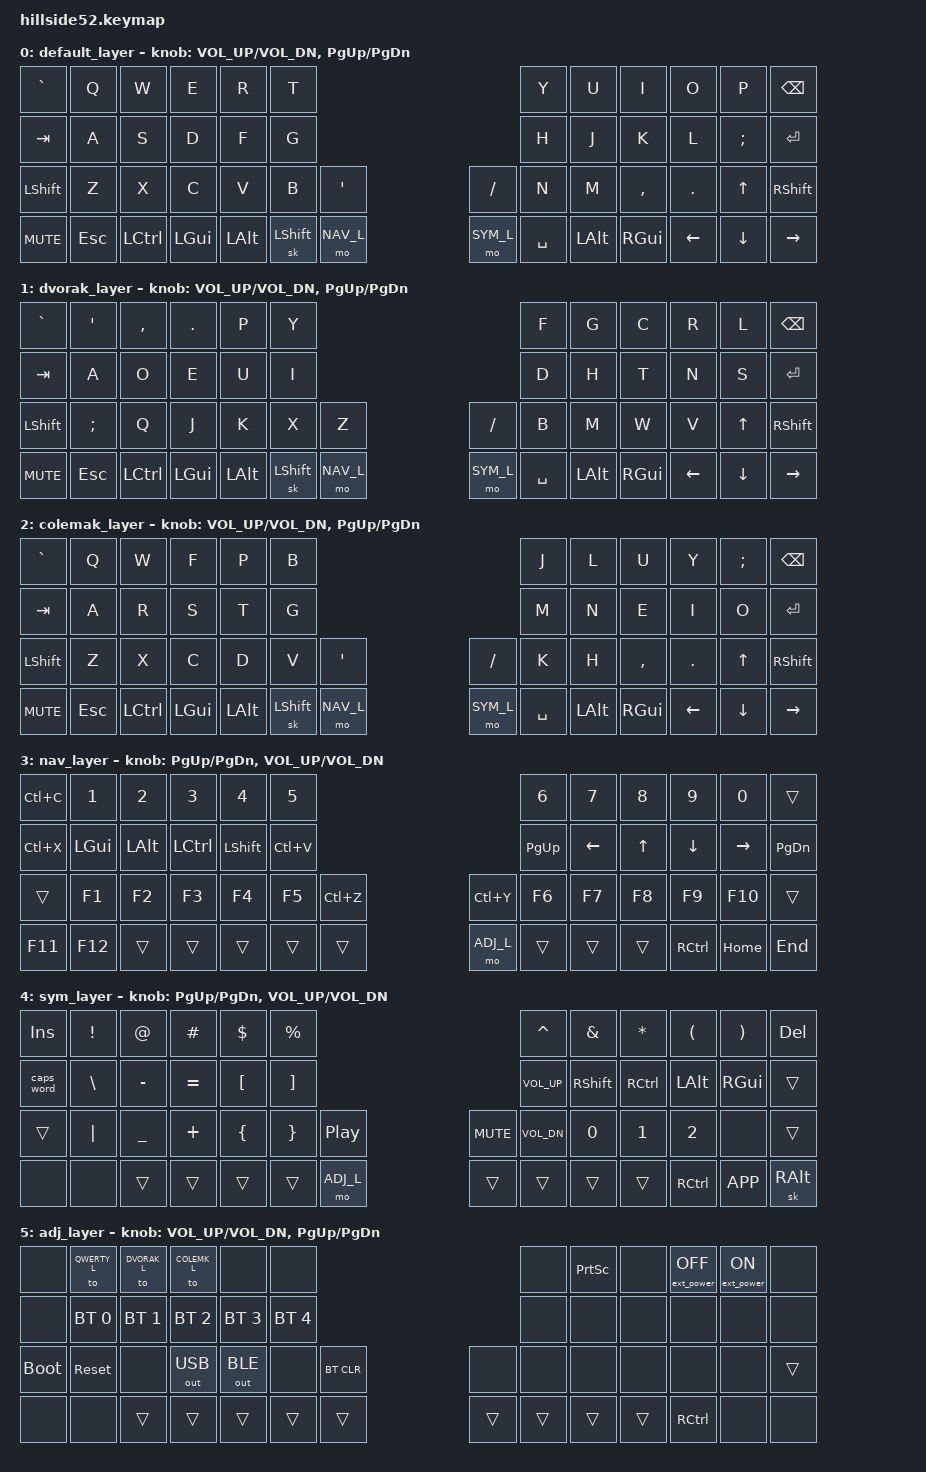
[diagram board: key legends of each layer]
/*
 * Copyright (c) 2021-2022 The ZMK Contributors
 *
 * SPDX-License-Identifier: MIT
 */

#include <behaviors.dtsi>
#include <dt-bindings/zmk/bt.h>
#include <dt-bindings/zmk/ext_power.h>
#include <dt-bindings/zmk/keys.h>
#include <dt-bindings/zmk/outputs.h>

#define QWERTY_L 0
#define DVORAK_L 1
#define COLEMK_L 2
#define NAV_L    3
#define SYM_L    4
#define ADJ_L    5

#define Undo   LC(Z)
#define Cut    LC(X)
#define Copy   LC(C)
#define Paste  LC(V)
#define Redo   LC(Y)

#define ES_MORD GRAVE   // º
#define ES_QUOT MINUS   // '
#define ES_IEXL EQUAL   // ¡

#define ES_GRV  LBKT    // ` (dead)
#define ES_PLUS RBKT    // +

#define ES_NTIL SEMI    // Ñ
#define ES_ACUT SQT     // ´ (dead)
#define ES_CCED NUHS    // Ç

#define ES_LABK NUBS    // <
#define ES_COMM COMMA   // ,
#define ES_DOT  DOT     // .
#define ES_MINS SLASH   // -

#define ES_FORD LS(ES_MORD) // ª
#define ES_EXLM LS(N1)    // !
#define ES_DQUO LS(N2)    // "
#define ES_BULT LS(N3)    // ·
#define ES_DLR  LS(N4)    // $
#define ES_PERC LS(N5)    // %
#define ES_AMPR LS(N6)    // &
#define ES_SLSH LS(N7)    // /
#define ES_LPRN LS(N8)    // (
#define ES_RPRN LS(N9)    // )
#define ES_EQL  LS(N0)    // =
#define ES_QUES LS(ES_QUOT) // ?
#define ES_IQUE LS(ES_IEXL) // ¿
#define ES_CIRC LS(ES_GRV)  // ^ (dead)
#define ES_ASTR LS(ES_PLUS) // *
#define ES_DIAE LS(ES_ACUT) // ¨ (dead)
#define ES_RABK LS(ES_LABK) // >
#define ES_SCLN LS(KC_COMM) // ;
#define ES_COLN LS(KC_DOT)  // :
#define ES_UNDS LS(ES_MINS) // _
#define ES_BSLS LA(ES_MORD) // (backslash)
#define ES_PIPE LA(N1)    // |
#define ES_AT   LA(N2)    // @
#define ES_HASH LA(N3)    // #
#define ES_TILD LA(ES_NTIL) // ~
#define ES_EURO LA(N5)    // €
#define ES_NOT  LA(N6)    // ¬
#define ES_LBRC LA(ES_GRV)  // [
#define ES_RBRC LA(ES_PLUS) // ]
#define ES_LCBR LA(ES_ACUT) // {
#define ES_RCBR LA(ES_CCED) // }

/ {
        keymap {
                compatible = "zmk,keymap";

                default_layer {
/* QWERTY
 * -------------------------------------------------------------------------------------------------------------------------------------
 * | `     |   Q   |   W   |   E   |   R   |   T   |-----------------------------------|   Y   |   U   |   I   |   O   |   P   | BKSPC |
 * | TAB   |   A   |   S   |   D   |   F   |   G   |-----------------------------------|   H   |   J   |   K   |   L   |   ;   | ENTER |
 * | SHIFT |   Z   |   X   |   C   |   V   |   B   |   '   |-------------------|   /   |   N   |   M   |   ,   |   .   |  Up   | SHIFT |
 * | Mute  |  ESC  | CTRL  |-------|  GUI  |  ALT  |SK SHFT|  Nav  |---|  Sym  | SPACE |  ALT  |  GUI  |-------| Left  | Down  | Right |
 */
                        bindings = <
&kp  GRAVE    &kp  Q        &kp  W        &kp  E        &kp  R        &kp  T                                                                         &kp  Y        &kp  U        &kp  I        &kp  O        &kp  P        &kp  BSPC
&kp  TAB      &kp  A        &kp  S        &kp  D        &kp  F        &kp  G                                                                         &kp  H        &kp  J        &kp  K        &kp  L        &kp  SEMI     &kp  ENTER
&kp  LSHFT    &kp  Z        &kp  X        &kp  C        &kp  V        &kp  B        &kp  SQT                                           &kp  SLASH    &kp  N        &kp  M        &kp  COMMA    &kp  DOT      &kp  UP       &kp  RSHFT
&kp  C_MUTE   &kp  ESC      &kp  LCTRL                  &kp  LGUI     &kp  LALT     &sk  LSHIFT    &mo  NAV_L            &mo  SYM_L    &kp  SPACE    &kp  LALT     &kp  RGUI                   &kp  LEFT     &kp  DOWN     &kp  RIGHT
                        >;
			
                        sensor-bindings = <&inc_dec_kp C_VOL_UP C_VOL_DN &inc_dec_kp PG_UP PG_DN>;
                };
		
                dvorak_layer {
/* DVORAK
 * -------------------------------------------------------------------------------------------------------------------------------------
 * | `     |   '   |   ,   |   .   |   P   |   Y   |-----------------------------------|   F   |   G   |   C   |   R   |   L   | BKSPC |
 * | TAB   |   A   |   O   |   E   |   U   |   I   |-----------------------------------|   D   |   H   |   T   |   N   |   S   | ENTER |
 * | SHIFT |   ;   |   Q   |   J   |   K   |   X   |   Z   |-------------------|   /   |   B   |   M   |   W   |   V   |  Up   | SHIFT |
 * | Mute  |  ESC  | CTRL  |-------|  GUI  |  ALT  |SK SHFT|  Nav  |---|  Sym  | SPACE |  ALT  |  GUI  |-------| Left  | Down  | Right |
 */
                        bindings = <
&kp  GRAVE    &kp  SQT      &kp  COMMA    &kp  DOT      &kp  P        &kp  Y                                                                         &kp  F        &kp  G        &kp  C        &kp  R        &kp  L        &kp  BSPC
&kp  TAB      &kp  A        &kp  O        &kp  E        &kp  U        &kp  I                                                                         &kp  D        &kp  H        &kp  T        &kp  N        &kp  S        &kp  ENTER
&kp  LSHFT    &kp  SEMI     &kp  Q        &kp  J        &kp  K        &kp  X        &kp  Z                                             &kp  SLASH    &kp  B        &kp  M        &kp  W        &kp  V        &kp  UP       &kp  RSHFT
&kp  C_MUTE   &kp  ESC      &kp  LCTRL                  &kp  LGUI     &kp  LALT     &sk  LSHIFT    &mo  NAV_L            &mo  SYM_L    &kp  SPACE    &kp  LALT     &kp  RGUI                   &kp  LEFT     &kp  DOWN     &kp  RIGHT
                        >;
			
                        sensor-bindings = <&inc_dec_kp C_VOL_UP C_VOL_DN &inc_dec_kp PG_UP PG_DN>;
                };
		
                colemak_layer {
/* COLEMAK-DH
 * -------------------------------------------------------------------------------------------------------------------------------------
 * | `     |   Q   |   W   |   F   |   P   |   B   |-----------------------------------|   J   |   L   |   U   |   Y   |   ;   | BKSPC |
 * | TAB   |   A   |   R   |   S   |   T   |   G   |-----------------------------------|   M   |   N   |   E   |   I   |   O   | ENTER |
 * | SHIFT |   Z   |   X   |   C   |   D   |   V   |   '   |-------------------|   /   |   K   |   H   |   ,   |   .   |  Up   | SHIFT |
 * | Mute  |  ESC  | CTRL  |-------|  GUI  |  ALT  |SK SHFT|  Nav  |---|  Sym  | SPACE |  ALT  |  GUI  |-------| Left  | Down  | Right |
 */
                        bindings = <
&kp  GRAVE    &kp  Q        &kp  W        &kp  F        &kp  P        &kp  B                                                                         &kp  J        &kp  L        &kp  U        &kp  Y        &kp  SEMI     &kp  BSPC
&kp  TAB      &kp  A        &kp  R        &kp  S        &kp  T        &kp  G                                                                         &kp  M        &kp  N        &kp  E        &kp  I        &kp  O        &kp  ENTER
&kp  LSHFT    &kp  Z        &kp  X        &kp  C        &kp  D        &kp  V        &kp  SQT                                           &kp  SLASH    &kp  K        &kp  H        &kp  COMMA    &kp  DOT      &kp  UP       &kp  RSHFT
&kp  C_MUTE   &kp  ESC      &kp  LCTRL                  &kp  LGUI     &kp  LALT     &sk  LSHIFT     &mo  NAV_L           &mo  SYM_L    &kp  SPACE    &kp  LALT     &kp  RGUI                   &kp  LEFT     &kp  DOWN     &kp  RIGHT
                        >;
			
                        sensor-bindings = <&inc_dec_kp C_VOL_UP C_VOL_DN &inc_dec_kp PG_UP PG_DN>;
                };

                nav_layer {
/* NAV
 * -------------------------------------------------------------------------------------------------------------------------------------
 * | Copy  |   1   |   2   |   3   |   4   |   5   |-----------------------------------|   6   |   7   |   8   |   9   |   0   | BSPC  |
 * | Cut   |  GUI  |  Alt  | Ctrl  | Shift | Paste |-----------------------------------| PG UP |  Left |  Up   |  Down | Right | PG DN |
 * | Shift |  F1   |  F2   |  F3   |  F4   |  F5   |  UnDo |-------------------| ReDo  |  F6   |  F7   |  F8   |  F9   |  F10  | Shift |
 * | F11   |  F12  |       |-------|       |       |       |       |---| ADJ_L |       |       |       |-------| CTRL  | HOME  |  END  |
 */
                        bindings = <
&kp  Copy     &kp  N1       &kp  N2       &kp  N3       &kp  N4       &kp  N5                                                                        &kp   N6      &kp  N7      &kp   N8      &kp   N9      &kp  N0       &trans
&kp  Cut      &kp  LGUI     &kp  LALT     &kp  LCTRL    &kp  LSHFT    &kp  Paste                                                                     &kp   PG_UP   &kp  LEFT    &kp   UP      &kp   DOWN    &kp  RIGHT    &kp PG_DN
&trans        &kp  F1       &kp  F2       &kp  F3       &kp  F4       &kp  F5       &kp Undo                                           &kp  Redo     &kp   F6      &kp  F7      &kp   F8      &kp   F9      &kp  F10      &trans
&kp  F11      &kp  F12      &trans                      &trans        &trans        &trans        &trans                 &mo ADJ_L     &trans        &trans        &trans                     &kp  RCTRL    &kp  HOME     &kp  END
                        >;
			
                        sensor-bindings = <&inc_dec_kp PG_UP PG_DN &inc_dec_kp C_VOL_UP C_VOL_DN>;
                };

                sym_layer {
/* SYM
 * -------------------------------------------------------------------------------------------------------------------------------------
 * | INS   |   !   |   @   |   #   |   $   |   %   |-----------------------------------|   ^   |   &   |   *   |   (   |   )   | DELETE|
 * | CAPS  |   \   |   -   |   =   |   [   |   ]   |-----------------------------------| Vol+  | Shift | Ctrl  | Alt   | Gui   | ENTER |
 * | Shift |   |   |   _   |   +   |   {   |   }   | Play  |-------------------| Mute  | Vol-  |  N0   |  N1   |  N2   |       | SHIFT |
 * |       |       |       |-------|       |       |       |  ADJ_L |---|      |       |       |       |-------| CTRL  | MENU  |SkAltGr|
 */
                        bindings = <
&kp  INS      &kp  EXCL     &kp  AT       &kp  HASH     &kp  DOLLAR   &kp  PERCENT                                                                   &kp  CARET    &kp  AMPS     &kp  ASTRK    &kp  LPAR     &kp  RPAR     &kp  DEL
&caps_word    &kp  BSLH     &kp  MINUS    &kp  EQUAL    &kp  LBKT     &kp  RBKT                                                                      &kp C_VOL_UP  &kp  RSHFT    &kp  RCTRL    &kp  LALT     &kp  RGUI     &trans
&trans        &kp  PIPE     &kp  UNDER    &kp  PLUS     &kp  LBRC     &kp  RBRC     &kp  C_PP                                          &kp C_MUTE    &kp C_VOL_DN  &kp  N0       &kp  N1       &kp  N2       &none         &trans
&none         &none         &trans                      &trans        &trans        &trans        &mo  ADJ_L               &trans      &trans        &trans        &trans                      &kp  RCTRL    &kp  K_APP    &sk  RALT
                        >;
			
                        sensor-bindings = <&inc_dec_kp PG_UP PG_DN &inc_dec_kp C_VOL_UP C_VOL_DN>;
                };
		

                adj_layer {
/* ADJUST
 * -------------------------------------------------------------------------------------------------------------------------------------
 * |       | QWERTY| DVORAK| COLEMK|       |       |-----------------------------------|       |Prt Scr|       | EP_OFF| EP_ON |       |
 * |       | BT 0  | BT 1  | BT 2  | BT 3  | BT 4  |-----------------------------------|       |       |       |       |       |       |
 * | BOOTL | RESET |       |OUT_USB|OUT_BLE|       |BT CLR |-------------------|       |       |       |       |       |       | SHIFT |
 * ----------------|       |-------|       |       |       |       |---|       |       |       |       |-------| CTRL  |----------------
 */
                        bindings = <
&none         &to  QWERTY_L &to  DVORAK_L &to  COLEMK_L &none         &none                                                                             &none             &kp PRINTSCREEN    &none         &ext_power EP_OFF  &ext_power EP_ON &none
&none         &bt  BT_SEL 0 &bt  BT_SEL 1 &bt  BT_SEL 2 &bt  BT_SEL 3 &bt  BT_SEL 4                                                                     &none             &none              &none            &none           &none            &none
&bootloader   &sys_reset    &none         &out OUT_USB  &out OUT_BLE  &none         &bt BT_CLR                                         &none            &none             &none              &none            &none           &none            &trans
&none         &none         &trans                      &trans        &trans        &trans        &trans                 &trans        &trans           &trans            &trans                              &kp  RCTRL      &none            &none
                        >;
			
                        sensor-bindings = <&inc_dec_kp C_VOL_UP C_VOL_DN &inc_dec_kp PG_UP PG_DN>;
                };
        };
};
